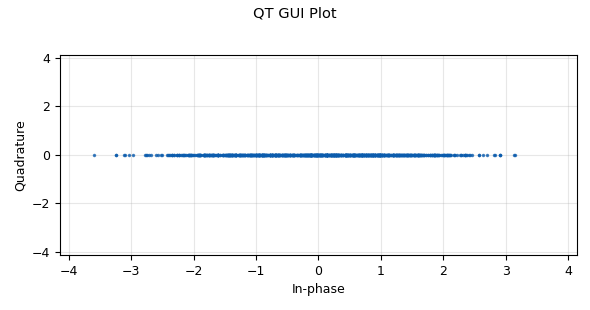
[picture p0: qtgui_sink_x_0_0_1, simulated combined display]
<?xml version='1.0' encoding='utf-8'?>
<flow_graph>
<block>
<key>options</key>
<param><key>id</key><value>top_block</value></param>
<param><key>generate_options</key><value>qt_gui</value></param>
<param><key>category</key><value>Custom</value></param>
<param><key>run_options</key><value>run</value></param>
</block>
<block>
<key>gr_file_sink</key>
<param><key>id</key><value>gr_file_sink_0</value></param>
<param><key>file</key><value>input.bin</value></param>
<param><key>type</key><value>byte</value></param>
<param><key>vlen</key><value>1</value></param>
<param><key>unbuffered</key><value>False</value></param>
</block>
<block>
<key>gr_file_sink</key>
<param><key>id</key><value>gr_file_sink_0_0</value></param>
<param><key>file</key><value>output.bin</value></param>
<param><key>type</key><value>byte</value></param>
<param><key>vlen</key><value>1</value></param>
<param><key>unbuffered</key><value>False</value></param>
</block>
<block>
<key>blocks_throttle</key>
<param><key>id</key><value>blocks_throttle_0</value></param>
<param><key>type</key><value>float</value></param>
<param><key>samples_per_second</key><value>100</value></param>
</block>
<block>
<key>const_source_x</key>
<param><key>id</key><value>const_source_x_0</value></param>
<param><key>type</key><value>float</value></param>
<param><key>const</key><value>0</value></param>
</block>
<block>
<key>variable</key>
<param><key>id</key><value>constellation</value></param>
<param><key>value</key><value>[-1.3416,   -0.4472,    0.4472,    1.3416]</value></param>
</block>
<block>
<key>variable</key>
<param><key>id</key><value>bits</value></param>
<param><key>value</key><value>2</value></param>
</block>
<block>
<key>import</key>
<param><key>id</key><value>import_0</value></param>
<param><key>import</key><value>from math import sqrt, sin, pi</value></param>
</block>
<block>
<key>gr_noise_source_x</key>
<param><key>id</key><value>gr_noise_source_x_0</value></param>
<param><key>type</key><value>float</value></param>
<param><key>noise_type</key><value>gr.GR_GAUSSIAN</value></param>
<param><key>amp</key><value>noiseAmplitude</value></param>
<param><key>seed</key><value>0</value></param>
</block>
<block>
<key>variable</key>
<param><key>id</key><value>noiseAmplitude</value></param>
<param><key>value</key><value>sqrt(1/(10**(0.1*snr_db)))</value></param>
</block>
<block>
<key>digital_constellation_decoder_cb</key>
<param><key>id</key><value>digital_constellation_decoder_cb_0</value></param>
<param><key>constellation</key><value>digital.constellation_calcdist([-3,-1,1,3], [], 1, 1).base()</value></param>
</block>
<block>
<key>random_source_x</key>
<param><key>id</key><value>random_source_x_0</value></param>
<param><key>type</key><value>byte</value></param>
<param><key>min</key><value>0</value></param>
<param><key>max</key><value>4</value></param>
<param><key>num_samps</key><value>10000</value></param>
<param><key>repeat</key><value>True</value></param>
</block>
<block>
<key>blocks_add_xx</key>
<param><key>id</key><value>blocks_add_xx_0</value></param>
<param><key>type</key><value>float</value></param>
</block>
<block>
<key>digital_chunks_to_symbols_xx</key>
<param><key>id</key><value>digital_chunks_to_symbols_xx_0</value></param>
<param><key>in_type</key><value>byte</value></param>
<param><key>out_type</key><value>float</value></param>
<param><key>symbol_table</key><value>constellation</value></param>
<param><key>dimension</key><value>1</value></param>
</block>
<block>
<key>blocks_float_to_complex</key>
<param><key>id</key><value>blocks_float_to_complex_0</value></param>
</block>
<block>
<key>gr_file_sink</key>
<param><key>id</key><value>gr_file_sink_1</value></param>
<param><key>file</key><value>symbols.bin</value></param>
<param><key>type</key><value>complex</value></param>
<param><key>vlen</key><value>1</value></param>
<param><key>unbuffered</key><value>False</value></param>
</block>
<block>
<key>qtgui_sink_x</key>
<param><key>id</key><value>qtgui_sink_x_0_0_1</value></param>
<param><key>type</key><value>complex</value></param>
<param><key>name</key><value>QT GUI Plot</value></param>
<param><key>fftsize</key><value>1024</value></param>
<param><key>wintype</key><value>firdes.WIN_BLACKMAN_hARRIS</value></param>
<param><key>fc</key><value>0</value></param>
<param><key>bw</key><value>400</value></param>
<param><key>plotfreq</key><value>False</value></param>
<param><key>plotwaterfall</key><value>False</value></param>
<param><key>plottime</key><value>False</value></param>
<param><key>rate</key><value>100</value></param>
</block>
<block>
<key>variable</key>
<param><key>id</key><value>snr_db</value></param>
<param><key>value</key><value>3</value></param>
</block>
<block>
<key>blks2_error_rate</key>
<param><key>id</key><value>blks2_error_rate_0</value></param>
<param><key>type</key><value>'BER'</value></param>
<param><key>win_size</key><value>10000</value></param>
<param><key>bits_per_symbol</key><value>bits</value></param>
</block>
<block>
<key>gr_tag_debug</key>
<param><key>id</key><value>gr_tag_debug_0</value></param>
<param><key>type</key><value>float</value></param>
<param><key>name</key><value></value></param>
<param><key>num_inputs</key><value>1</value></param>
<param><key>vlen</key><value>1</value></param>
<param><key>display</key><value>True</value></param>
</block>
<connection><source_block_id>random_source_x_0</source_block_id><sink_block_id>blks2_error_rate_0</sink_block_id><source_key>0</source_key><sink_key>0</sink_key></connection>
<connection><source_block_id>random_source_x_0</source_block_id><sink_block_id>digital_chunks_to_symbols_xx_0</sink_block_id><source_key>0</source_key><sink_key>0</sink_key></connection>
<connection><source_block_id>gr_noise_source_x_0</source_block_id><sink_block_id>blocks_add_xx_0</sink_block_id><source_key>0</source_key><sink_key>1</sink_key></connection>
<connection><source_block_id>digital_constellation_decoder_cb_0</source_block_id><sink_block_id>blks2_error_rate_0</sink_block_id><source_key>0</source_key><sink_key>1</sink_key></connection>
<connection><source_block_id>random_source_x_0</source_block_id><sink_block_id>gr_file_sink_0</sink_block_id><source_key>0</source_key><sink_key>0</sink_key></connection>
<connection><source_block_id>digital_constellation_decoder_cb_0</source_block_id><sink_block_id>gr_file_sink_0_0</sink_block_id><source_key>0</source_key><sink_key>0</sink_key></connection>
<connection><source_block_id>blocks_throttle_0</source_block_id><sink_block_id>blocks_float_to_complex_0</sink_block_id><source_key>0</source_key><sink_key>0</sink_key></connection>
<connection><source_block_id>blocks_float_to_complex_0</source_block_id><sink_block_id>digital_constellation_decoder_cb_0</sink_block_id><source_key>0</source_key><sink_key>0</sink_key></connection>
<connection><source_block_id>const_source_x_0</source_block_id><sink_block_id>blocks_float_to_complex_0</sink_block_id><source_key>0</source_key><sink_key>1</sink_key></connection>
<connection><source_block_id>blocks_add_xx_0</source_block_id><sink_block_id>blocks_throttle_0</sink_block_id><source_key>0</source_key><sink_key>0</sink_key></connection>
<connection><source_block_id>digital_chunks_to_symbols_xx_0</source_block_id><sink_block_id>blocks_add_xx_0</sink_block_id><source_key>0</source_key><sink_key>0</sink_key></connection>
<connection><source_block_id>blocks_float_to_complex_0</source_block_id><sink_block_id>qtgui_sink_x_0_0_1</sink_block_id><source_key>0</source_key><sink_key>0</sink_key></connection>
<connection><source_block_id>blocks_float_to_complex_0</source_block_id><sink_block_id>gr_file_sink_1</sink_block_id><source_key>0</source_key><sink_key>0</sink_key></connection>
<connection><source_block_id>blks2_error_rate_0</source_block_id><sink_block_id>gr_tag_debug_0</sink_block_id><source_key>0</source_key><sink_key>0</sink_key></connection>
</flow_graph>
